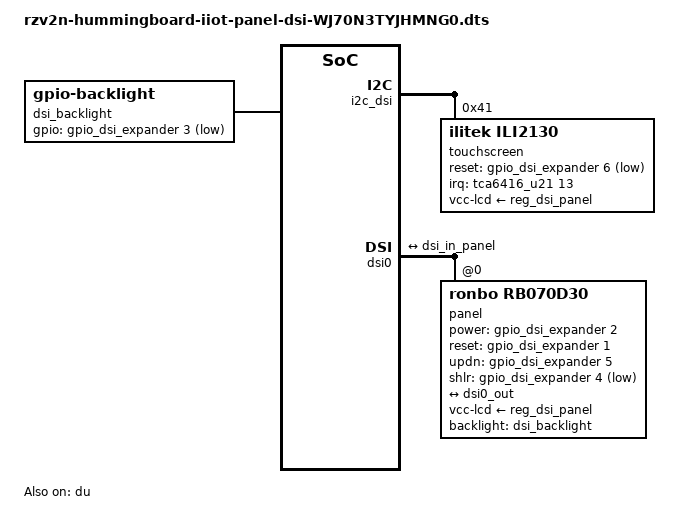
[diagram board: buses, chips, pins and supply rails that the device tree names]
// SPDX-License-Identifier: (GPL-2.0-only OR BSD-2-Clause)
/*
 * Device Tree Source for the RZ/V2N SolidRun HummingBoard IIoT
 *
 * Copyright (C) 2025 SolidRun Ltd.
 *
 * Overlay for enabling HummingBoard IIoT MIPI-DSI connector
 * with Winstar WJ70N3TYJHMNG0 panel.
 */

/dts-v1/;
/plugin/;

#include <dt-bindings/gpio/gpio.h>
#include <dt-bindings/interrupt-controller/irq.h>

&{/} {
	dsi_backlight: dsi-backlight {
		compatible = "gpio-backlight";
		gpios = <&gpio_dsi_expander 3 GPIO_ACTIVE_LOW>;
	};
};

&i2c_dsi {
	#address-cells = <1>;
	#size-cells = <0>;

	touchscreen@41 {
		reg = <0x41>;
		compatible = "ilitek,ili2130";
		reset-gpios = <&gpio_dsi_expander 6 GPIO_ACTIVE_LOW>;
		interrupts-extended = <&tca6416_u21 13 IRQ_TYPE_LEVEL_LOW>;
		vcc-lcd-supply = <&reg_dsi_panel>;
	};
};

&du {
	status = "okay";
};

&dsi0 {
	#address-cells = <1>;
    #size-cells = <0>;
	status = "okay";
	panel@0 {
		compatible = "ronbo,rb070d30";
		reg = <0>;
		vcc-lcd-supply = <&reg_dsi_panel>;
		power-gpios = <&gpio_dsi_expander 2 GPIO_ACTIVE_HIGH>;
		/* reset is active-low but driver inverts it internally */
		reset-gpios = <&gpio_dsi_expander 1 GPIO_ACTIVE_HIGH>;
		updn-gpios = <&gpio_dsi_expander 5 GPIO_ACTIVE_HIGH>;
		shlr-gpios = <&gpio_dsi_expander 4 GPIO_ACTIVE_LOW>;
		backlight = <&dsi_backlight>;

		port {

			/* Endpoint ON THE PANEL side */
			dsi_in_panel: endpoint {
				remote-endpoint = <&dsi0_out>;
			};
		};
	};

	/* Patch the existing port@1 / endpoint on the DSI side */
	ports {
		#address-cells = <1>;
		#size-cells = <0>;
		port@1 {
			reg = <1>;

			dsi0_out: endpoint {
				remote-endpoint = <&dsi_in_panel>;
				data-lanes = <1 2 3 4>;  /* or whatever your HW uses */
			};
		};
	};
};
